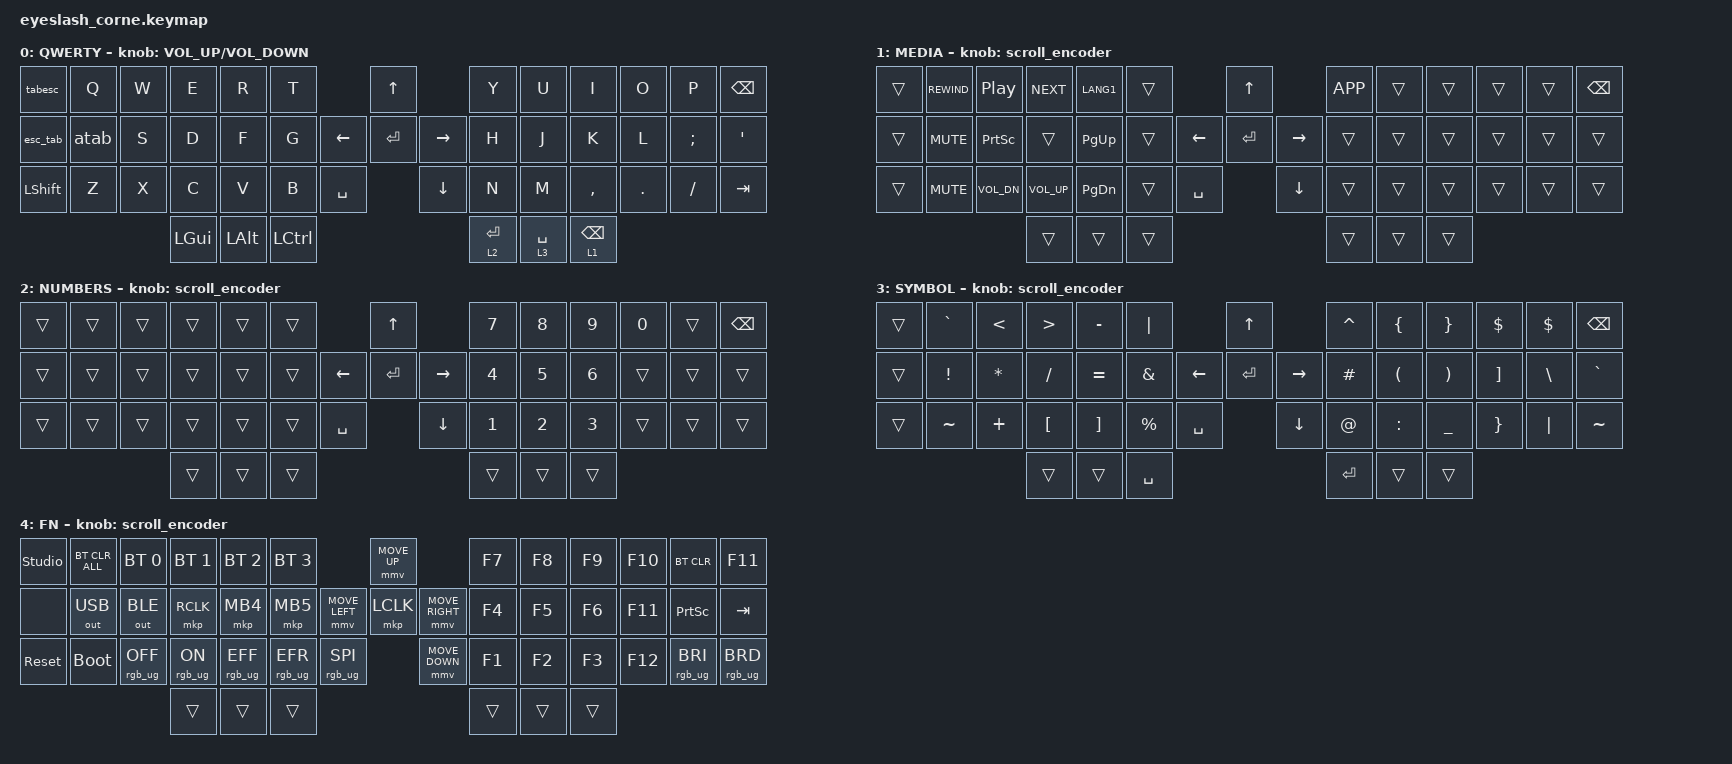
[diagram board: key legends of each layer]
#define ZMK_POINTING_DEFAULT_MOVE_VAL 1200  // 600
#define ZMK_POINTING_DEFAULT_SCRL_VAL 25   // 10

#include <input/processors.dtsi>
#include <zephyr/dt-bindings/input/input-event-codes.h>
#include <behaviors.dtsi>
#include <dt-bindings/zmk/bt.h>
#include <dt-bindings/zmk/keys.h>
#include <dt-bindings/zmk/outputs.h>
#include <dt-bindings/zmk/pointing.h>
#include <dt-bindings/zmk/rgb.h>

&mmv_input_listener { input-processors = <&zip_xy_scaler 2 1>; };

&msc_input_listener { input-processors = <&zip_scroll_scaler 2 1>; };

&msc {
    acceleration-exponent = <1>;      // 0
    time-to-max-speed-ms = <100>;     // 300
    delay-ms = <0>;                   // 0
};

&mmv {
    time-to-max-speed-ms = <500>;
    acceleration-exponent = <1>;
    trigger-period-ms = <16>;
};

&soft_off { hold-time-ms = <2000>; };

/ {
    behaviors {
        esc_tab: esc_tab {
            compatible = "zmk,behavior-mod-morph";
            label = "ESC_TAB";
            bindings = <&kp ESCAPE>, <&kp RS(TAB)>;

            #binding-cells = <0>;
            mods = <(MOD_LALT|MOD_RALT)>;
            keep-mods = <(MOD_LALT|MOD_RALT)>;
        };

        tabesc: tabesc {
            compatible = "zmk,behavior-mod-morph";
            label = "TABESC";
            bindings = <&kp TAB>, <&kp ESCAPE>;

            #binding-cells = <0>;
            mods = <(MOD_LALT|MOD_RALT)>;
            keep-mods = <(MOD_LALT|MOD_RALT)>;
        };

        atab: atab {
            compatible = "zmk,behavior-mod-morph";
            label = "ATAB";
            bindings = <&kp A>, <&kp TAB>;

            #binding-cells = <0>;
            mods = <(MOD_LALT|MOD_RALT)>;
            keep-mods = <(MOD_LALT|MOD_RALT)>;
        };
    };

    rgb_encoder: rgb_encoder {
        compatible = "zmk,behavior-sensor-rotate";
        #sensor-binding-cells = <0>;
        bindings = <&rgb_ug RGB_BRI>, <&rgb_ug RGB_BRD>;
    };

    scroll_encoder: scroll_encoder {
        compatible = "zmk,behavior-sensor-rotate";
        #sensor-binding-cells = <0>;
        bindings = <&msc SCRL_DOWN>, <&msc SCRL_UP>;

        tap-ms = <100>;
    };

    combos {
        compatible = "zmk,combos";

        softoff {
            bindings = <&soft_off>;
            key-positions = <1 15 29>;
        };

        fnlayer {
            bindings = <&mo 4>;
            key-positions = <45 46>;
        };

        ctrlshift {
            bindings = <&kp LC(LEFT_SHIFT)>;
            key-positions = <44 43>;
        };
    };

    keymap {
        compatible = "zmk,keymap";

        /******************
         *  LAYER 0: BASE *
         ******************/

        default_layer {
            display-name = "QWERTY";
            bindings = <
&tabesc         &kp Q  &kp W  &kp E         &kp R         &kp T                             &kp UP                &kp Y        &kp U        &kp I       &kp O    &kp P     &kp BSPC
&esc_tab        &atab  &kp S  &kp D         &kp F         &kp G                   &kp LEFT  &kp ENTER  &kp RIGHT  &kp H        &kp J        &kp K       &kp L    &kp SEMI  &kp SQT
&kp LEFT_SHIFT  &kp Z  &kp X  &kp C         &kp V         &kp B      &kp SPACE              &kp DOWN              &kp N        &kp M        &kp COMMA   &kp DOT  &kp FSLH  &kp TAB
                              &kp LEFT_GUI  &kp LEFT_ALT  &kp LCTRL                                               &lt 2 ENTER  &lt 3 SPACE  &lt 1 BSPC
            >;

            sensor-bindings = <&inc_dec_kp C_VOLUME_UP C_VOLUME_DOWN>;
        };

        /*******************
         *  LAYER 1: MEDIA *
         *******************/

        media_layer {
            display-name = "MEDIA";
            bindings = <
&trans  &kp C_REWIND  &kp C_PLAY_PAUSE  &kp C_NEXT    &kp LANG1  &trans                         &kp UP                &kp K_APP  &trans  &trans  &trans  &trans  &kp BSPC
&trans  &kp C_MUTE    &kp PRINTSCREEN   &trans        &kp PG_UP  &trans               &kp LEFT  &kp ENTER  &kp RIGHT  &trans     &trans  &trans  &trans  &trans  &trans
&trans  &kp C_MUTE    &kp C_VOL_DN      &kp C_VOL_UP  &kp PG_DN  &trans  &kp SPACE              &kp DOWN              &trans     &trans  &trans  &trans  &trans  &trans
                                        &trans        &trans     &trans                                               &trans     &trans  &trans
            >;

            sensor-bindings = <&scroll_encoder>;
        };

        /**********************
         *  LAYER 2: NUMBERS  *
         **********************/

        numbers_layer {
            display-name = "NUMBERS";
            bindings = <
&trans  &trans  &trans  &trans  &trans  &trans                         &kp UP                &kp N7  &kp N8  &kp N9  &kp N0  &trans  &kp BSPC
&trans  &trans  &trans  &trans  &trans  &trans               &kp LEFT  &kp ENTER  &kp RIGHT  &kp N4  &kp N5  &kp N6  &trans  &trans  &trans
&trans  &trans  &trans  &trans  &trans  &trans  &kp SPACE              &kp DOWN              &kp N1  &kp N2  &kp N3  &trans  &trans  &trans
                        &trans  &trans  &trans                                               &trans  &trans  &trans
            >;

            sensor-bindings = <&scroll_encoder>;
        };

        /**********************
         *  LAYER 3: SYMBOL   *
         **********************/

        symbol_layer {
            display-name = "SYMBOL";
            bindings = <
&trans  &kp GRAVE  &kp LT    &kp GT     &kp MINUS  &kp PIPE                          &kp UP                &kp CARET  &kp LBRC              &kp RBRC               &kp DLLR  &kp DOLLAR     &kp BSPC
&trans  &kp EXCL   &kp STAR  &kp SLASH  &kp EQUAL  &kp AMPS                &kp LEFT  &kp ENTER  &kp RIGHT  &kp POUND  &kp LEFT_PARENTHESIS  &kp RIGHT_PARENTHESIS  &kp RBKT  &kp BACKSLASH  &kp GRAVE
&trans  &kp TILDE  &kp PLUS  &kp LBKT   &kp RBKT   &kp PRCNT  &kp SPACE              &kp DOWN              &kp AT     &kp COLON             &kp UNDERSCORE         &kp RBRC  &kp PIPE       &kp TILDE
                             &trans     &trans     &kp SPACE                                               &kp RET    &trans                &trans
            >;

            sensor-bindings = <&scroll_encoder>;
        };

        /*******************
         *  LAYER 4: FN    *
         *******************/

        fn_layer {
            display-name = "FN";
            bindings = <
&studio_unlock  &bt BT_CLR_ALL  &bt BT_SEL 0     &bt BT_SEL 1    &bt BT_SEL 2     &bt BT_SEL 3                                        &mmv MOVE_UP                     &kp F7  &kp F8  &kp F9  &kp F10  &bt BT_CLR       &kp F11
&none           &out OUT_USB    &out OUT_BLE     &mkp RCLK       &mkp MB4         &mkp MB5                            &mmv MOVE_LEFT  &mkp LCLK       &mmv MOVE_RIGHT  &kp F4  &kp F5  &kp F6  &kp F11  &kp PRINTSCREEN  &kp TAB
&sys_reset      &bootloader     &rgb_ug RGB_OFF  &rgb_ug RGB_ON  &rgb_ug RGB_EFF  &rgb_ug RGB_EFR  &rgb_ug RGB_SPI                    &mmv MOVE_DOWN                   &kp F1  &kp F2  &kp F3  &kp F12  &rgb_ug RGB_BRI  &rgb_ug RGB_BRD
                                                 &trans          &trans           &trans                                                                               &trans  &trans  &trans
            >;

            sensor-bindings = <&scroll_encoder>;
        };
    };
};
